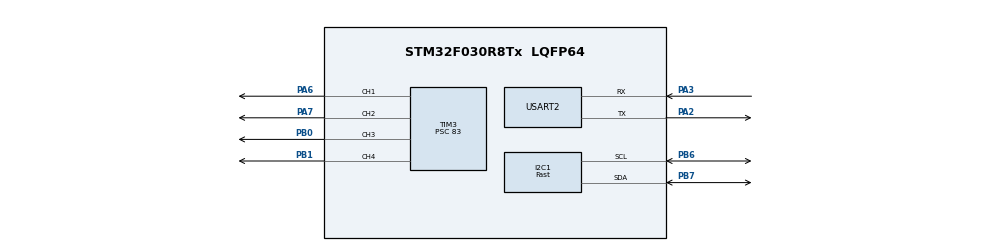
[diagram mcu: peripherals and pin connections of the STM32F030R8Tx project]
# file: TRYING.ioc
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I2C1.I2C_Speed_Mode=I2C_Fast
I2C1.Timing=0x0010020A
Mcu.Family=STM32F0
Mcu.Name=STM32F030R8Tx
Mcu.Package=LQFP64
PA13.Mode=Serial_Wire
PA13.Signal=SYS_SWDIO
PA14.Mode=Serial_Wire
PA14.Signal=SYS_SWCLK
PA2.Mode=Asynchronous
PA2.Signal=USART2_TX
PA3.Mode=Asynchronous
PA3.Signal=USART2_RX
PA6.Signal=S_TIM3_CH1
PA7.Signal=S_TIM3_CH2
PB0.Signal=S_TIM3_CH3
PB1.Signal=S_TIM3_CH4
PB6.Mode=I2C
PB6.Signal=I2C1_SCL
PB7.Mode=I2C
PB7.Signal=I2C1_SDA
PF0-OSC_IN.Mode=HSE-External-Oscillator
PF0-OSC_IN.Signal=RCC_OSC_IN
PF1-OSC_OUT.Mode=HSE-External-Oscillator
PF1-OSC_OUT.Signal=RCC_OSC_OUT
ProjectManager.HeapSize=0x200
ProjectManager.StackSize=0x400
ProjectManager.TargetToolchain=STM32CubeIDE
SH.S_TIM3_CH1.0=TIM3_CH1,PWM Generation1 CH1
SH.S_TIM3_CH2.0=TIM3_CH2,PWM Generation2 CH2
SH.S_TIM3_CH3.0=TIM3_CH3,PWM Generation3 CH3
SH.S_TIM3_CH4.0=TIM3_CH4,PWM Generation4 CH4
TIM3.Channel-PWM\ Generation1\ CH1=TIM_CHANNEL_1
TIM3.Channel-PWM\ Generation2\ CH2=TIM_CHANNEL_2
TIM3.Channel-PWM\ Generation3\ CH3=TIM_CHANNEL_3
TIM3.Channel-PWM\ Generation4\ CH4=TIM_CHANNEL_4
TIM3.Prescaler=83
USART2.VirtualMode-Asynchronous=VM_ASYNC
board=custom

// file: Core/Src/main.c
/* USER CODE BEGIN Header */
/**
  ******************************************************************************
  * @file           : main.c
  * @brief          : Main program body
  ******************************************************************************
  * @attention
  *
  * Copyright (c) 2026 STMicroelectronics.
  * All rights reserved.
  *
  * This software is licensed under terms that can be found in the LICENSE file
  * in the root directory of this software component.
  * If no LICENSE file comes with this software, it is provided AS-IS.
  *
  ******************************************************************************
  */
/* USER CODE END Header */
#include "main.h"

/* USER CODE BEGIN Includes */
#include "mpu6050.h"
#include <string.h>
#include <stdio.h>
#include <math.h>
#include <stdlib.h>
/* USER CODE END Includes */

/* USER CODE BEGIN PTD */
// --- TUNING PARAMETERS ---
MPU6050_t MPU6050;
#define TARGET_ANGLE 0.0f // Target angle (calibrate this: robot center of mass might not be 0)

#define MAX_MOTOR_SPEED 990 // Max PWM value (Timer Period is 1000)

#define MIN_MOTOR_SPEED 60 // Minimum PWM to overcome motor friction (Deadzone compensation)

// PID GAINS (Conservative starting values to prevent shaking)

#define KP_GAIN 18.0f // Proportional

#define KI_GAIN 0.0f // Integral (fixes steady error)
#define KD_GAIN 0.9f // Derivative (Dampening - stops oscillation)

// Loop Timing
#define LOOP_TIME_MS 10 // 10ms = 100Hz Control Loop
/* USER CODE END PTD */

I2C_HandleTypeDef hi2c1;

TIM_HandleTypeDef htim3;

UART_HandleTypeDef huart2;

void SystemClock_Config(void);
static void MX_GPIO_Init(void);
static void MX_I2C1_Init(void);
static void MX_TIM3_Init(void);
static void MX_USART2_UART_Init(void);

/* USER CODE BEGIN 0 */
// --- MOTOR CONTROL FUNCTIONS ---
int16_t Constrain_Speed(int16_t speed) {
	if (speed > MAX_MOTOR_SPEED) return MAX_MOTOR_SPEED;
	if (speed < -MAX_MOTOR_SPEED) return -MAX_MOTOR_SPEED;
	return speed;
}
/* USER CODE BEGIN 0 */
// Motor A: Now uses TIM3_CH1 (IN1) and TIM3_CH2 (IN2)
void Set_Motor_A(int16_t speed)
{
    if (speed > 0) {
        // Forward: CH1 PWM, CH2 LOW
        __HAL_TIM_SET_COMPARE(&htim3, TIM_CHANNEL_1, speed);
        __HAL_TIM_SET_COMPARE(&htim3, TIM_CHANNEL_2, 0);
    }
    else if (speed < 0) {
        // Reverse: CH1 LOW, CH2 PWM
        __HAL_TIM_SET_COMPARE(&htim3, TIM_CHANNEL_1, 0);
        __HAL_TIM_SET_COMPARE(&htim3, TIM_CHANNEL_2, -speed);
    }
    else {
        // Stop
        __HAL_TIM_SET_COMPARE(&htim3, TIM_CHANNEL_1, 0);
        __HAL_TIM_SET_COMPARE(&htim3, TIM_CHANNEL_2, 0);
    }
}

// Motor B: Now uses TIM3_CH3 (IN3) and TIM3_CH4 (IN4)
void Set_Motor_B(int16_t speed)
{
    if (speed > 0) {
        // Forward: CH3 PWM, CH4 LOW
        __HAL_TIM_SET_COMPARE(&htim3, TIM_CHANNEL_3, speed);
        __HAL_TIM_SET_COMPARE(&htim3, TIM_CHANNEL_4, 0);
    }
    else if (speed < 0) {
        // Reverse: CH3 LOW, CH4 PWM
        __HAL_TIM_SET_COMPARE(&htim3, TIM_CHANNEL_3, 0);
        __HAL_TIM_SET_COMPARE(&htim3, TIM_CHANNEL_4, -speed);
    }
    else {
        // Stop
        __HAL_TIM_SET_COMPARE(&htim3, TIM_CHANNEL_3, 0);
        __HAL_TIM_SET_COMPARE(&htim3, TIM_CHANNEL_4, 0);
    }
}

// --- PID CONTROL LOOP ---
void Balance_Control(void)
{
    static float integral = 0.0f;
    float angle = -MPU6050.KalmanAngleX;
    float error = 0.0f - angle;
    static float prevError = 0.0f;
    static uint32_t lastTime = 0;
    float dt = (HAL_GetTick() - lastTime) / 1000.0f;
    lastTime = HAL_GetTick();
    integral = integral + error * dt;

    // de(t)/dt
        float derivative = (error - prevError) / dt;
        prevError = error;
    float output = error * KP_GAIN +  KI_GAIN*integral + KD_GAIN*derivative;

    int16_t motorSpeed = (int16_t)output;
/*
    if (motorSpeed > 0) motorSpeed += 120;
    else if (motorSpeed < 0) motorSpeed -= 120;

    motorSpeed = Constrain_Speed(motorSpeed);
*/
    Set_Motor_A(motorSpeed);
    Set_Motor_B(motorSpeed);
}

/* USER CODE END 0 */

int main(void)
{

  /* MCU Configuration--------------------------------------------------------*/

  /* Reset of all peripherals, Initializes the Flash interface and the Systick. */
  HAL_Init();

  /* Configure the system clock */
  SystemClock_Config();

  /* Initialize all configured peripherals */
  MX_GPIO_Init();
  MX_I2C1_Init();
  MX_TIM3_Init();
  MX_USART2_UART_Init();
  /* USER CODE BEGIN 2 */
  HAL_TIM_PWM_Start(&htim3, TIM_CHANNEL_1);
  HAL_TIM_PWM_Start(&htim3, TIM_CHANNEL_2);
  HAL_TIM_PWM_Start(&htim3, TIM_CHANNEL_3);
  HAL_TIM_PWM_Start(&htim3, TIM_CHANNEL_4);
  /* USER CODE END 2 */

  /* Infinite loop */
  // 2. Initialize MPU6050

  uint8_t status_msg[] = "Initializing MPU6050...\r\n";

  HAL_UART_Transmit(&huart2, status_msg, strlen((char*)status_msg), 100);
  // Retry initialization until success
  while (MPU6050_Init(&hi2c1) == 1)

  {
	  HAL_UART_Transmit(&huart2, (uint8_t*)"MPU6050 Failed. Retrying...\r\n", 29, 100);

	  HAL_Delay(1000);
  }

  HAL_UART_Transmit(&huart2, (uint8_t*)"MPU6050 Ready. Starting Control.\r\n", 34, 100);
  // Wait a moment for sensor to stabilize
  HAL_Delay(1000);
  /* USER CODE END 2 */
  /* Infinite loop */

  /* USER CODE BEGIN WHILE */

  uint32_t logTimer = 0;
  while (1)

  {

  // 1. Read Sensor Data (This updates KalmanAngleY)
  MPU6050_Read_All(&hi2c1, &MPU6050);
  // 2. Run Control Loop
  Balance_Control();
  // 3. Debug via UART (Only every 200ms to avoid slowing down the loop)
  if (HAL_GetTick() - logTimer > 200) {
  logTimer = HAL_GetTick();
  char msg[64];
  // Print Angle and the PID Output (inferred from angle)

  // Note: Floating point printing requires 'Change float settings' in MCU Settings or custom implementation

  sprintf(msg, "Ang: %d.%02d\r\n",
  (int)MPU6050.KalmanAngleX,
  abs((int)(MPU6050.KalmanAngleX * 100) % 100));
  HAL_UART_Transmit(&huart2, (uint8_t*)msg, strlen(msg), 50);
  }

  /* USER CODE END WHILE */
  }

  }

void SystemClock_Config(void)
{
  RCC_OscInitTypeDef RCC_OscInitStruct = {0};
  RCC_ClkInitTypeDef RCC_ClkInitStruct = {0};
  RCC_PeriphCLKInitTypeDef PeriphClkInit = {0};

  /** Initializes the RCC Oscillators according to the specified parameters
  * in the RCC_OscInitTypeDef structure.
  */
  RCC_OscInitStruct.OscillatorType = RCC_OSCILLATORTYPE_HSI;
  RCC_OscInitStruct.HSIState = RCC_HSI_ON;
  RCC_OscInitStruct.HSICalibrationValue = RCC_HSICALIBRATION_DEFAULT;
  RCC_OscInitStruct.PLL.PLLState = RCC_PLL_NONE;
  if (HAL_RCC_OscConfig(&RCC_OscInitStruct) != HAL_OK)
  {
    Error_Handler();
  }

  /** Initializes the CPU, AHB and APB buses clocks
  */
  RCC_ClkInitStruct.ClockType = RCC_CLOCKTYPE_HCLK|RCC_CLOCKTYPE_SYSCLK
                              |RCC_CLOCKTYPE_PCLK1;
  RCC_ClkInitStruct.SYSCLKSource = RCC_SYSCLKSOURCE_HSI;
  RCC_ClkInitStruct.AHBCLKDivider = RCC_SYSCLK_DIV1;
  RCC_ClkInitStruct.APB1CLKDivider = RCC_HCLK_DIV1;

  if (HAL_RCC_ClockConfig(&RCC_ClkInitStruct, FLASH_LATENCY_0) != HAL_OK)
  {
    Error_Handler();
  }
  PeriphClkInit.PeriphClockSelection = RCC_PERIPHCLK_I2C1;
  PeriphClkInit.I2c1ClockSelection = RCC_I2C1CLKSOURCE_HSI;
  if (HAL_RCCEx_PeriphCLKConfig(&PeriphClkInit) != HAL_OK)
  {
    Error_Handler();
  }
}

static void MX_I2C1_Init(void)
{

  hi2c1.Instance = I2C1;
  hi2c1.Init.Timing = 0x0010020A;
  hi2c1.Init.OwnAddress1 = 0;
  hi2c1.Init.AddressingMode = I2C_ADDRESSINGMODE_7BIT;
  hi2c1.Init.DualAddressMode = I2C_DUALADDRESS_DISABLE;
  hi2c1.Init.OwnAddress2 = 0;
  hi2c1.Init.OwnAddress2Masks = I2C_OA2_NOMASK;
  hi2c1.Init.GeneralCallMode = I2C_GENERALCALL_DISABLE;
  hi2c1.Init.NoStretchMode = I2C_NOSTRETCH_DISABLE;
  if (HAL_I2C_Init(&hi2c1) != HAL_OK)
  {
    Error_Handler();
  }

  /** Configure Analogue filter
  */
  if (HAL_I2CEx_ConfigAnalogFilter(&hi2c1, I2C_ANALOGFILTER_ENABLE) != HAL_OK)
  {
    Error_Handler();
  }

  /** Configure Digital filter
  */
  if (HAL_I2CEx_ConfigDigitalFilter(&hi2c1, 0) != HAL_OK)
  {
    Error_Handler();
  }

}

static void MX_TIM3_Init(void)
{

  TIM_MasterConfigTypeDef sMasterConfig = {0};
  TIM_OC_InitTypeDef sConfigOC = {0};

  htim3.Instance = TIM3;
  htim3.Init.Prescaler = 83;
  htim3.Init.CounterMode = TIM_COUNTERMODE_UP;
  htim3.Init.Period = 1000;
  htim3.Init.ClockDivision = TIM_CLOCKDIVISION_DIV1;
  htim3.Init.AutoReloadPreload = TIM_AUTORELOAD_PRELOAD_DISABLE;
  if (HAL_TIM_PWM_Init(&htim3) != HAL_OK)
  {
    Error_Handler();
  }
  sMasterConfig.MasterOutputTrigger = TIM_TRGO_RESET;
  sMasterConfig.MasterSlaveMode = TIM_MASTERSLAVEMODE_DISABLE;
  if (HAL_TIMEx_MasterConfigSynchronization(&htim3, &sMasterConfig) != HAL_OK)
  {
    Error_Handler();
  }
  sConfigOC.OCMode = TIM_OCMODE_PWM1;
  sConfigOC.Pulse = 0;
  sConfigOC.OCPolarity = TIM_OCPOLARITY_HIGH;
  sConfigOC.OCFastMode = TIM_OCFAST_DISABLE;
  if (HAL_TIM_PWM_ConfigChannel(&htim3, &sConfigOC, TIM_CHANNEL_1) != HAL_OK)
  {
    Error_Handler();
  }
  if (HAL_TIM_PWM_ConfigChannel(&htim3, &sConfigOC, TIM_CHANNEL_2) != HAL_OK)
  {
    Error_Handler();
  }
  if (HAL_TIM_PWM_ConfigChannel(&htim3, &sConfigOC, TIM_CHANNEL_3) != HAL_OK)
  {
    Error_Handler();
  }
  if (HAL_TIM_PWM_ConfigChannel(&htim3, &sConfigOC, TIM_CHANNEL_4) != HAL_OK)
  {
    Error_Handler();
  }
  HAL_TIM_MspPostInit(&htim3);

}

static void MX_USART2_UART_Init(void)
{

  huart2.Instance = USART2;
  huart2.Init.BaudRate = 38400;
  huart2.Init.WordLength = UART_WORDLENGTH_8B;
  huart2.Init.StopBits = UART_STOPBITS_1;
  huart2.Init.Parity = UART_PARITY_NONE;
  huart2.Init.Mode = UART_MODE_TX_RX;
  huart2.Init.HwFlowCtl = UART_HWCONTROL_NONE;
  huart2.Init.OverSampling = UART_OVERSAMPLING_16;
  huart2.Init.OneBitSampling = UART_ONE_BIT_SAMPLE_DISABLE;
  huart2.AdvancedInit.AdvFeatureInit = UART_ADVFEATURE_NO_INIT;
  if (HAL_UART_Init(&huart2) != HAL_OK)
  {
    Error_Handler();
  }

}

static void MX_GPIO_Init(void)
{

  /* GPIO Ports Clock Enable */
  __HAL_RCC_GPIOF_CLK_ENABLE();
  __HAL_RCC_GPIOA_CLK_ENABLE();
  __HAL_RCC_GPIOB_CLK_ENABLE();

}

void Error_Handler(void)
{
  __disable_irq();
  while (1)
  {
  }
}
